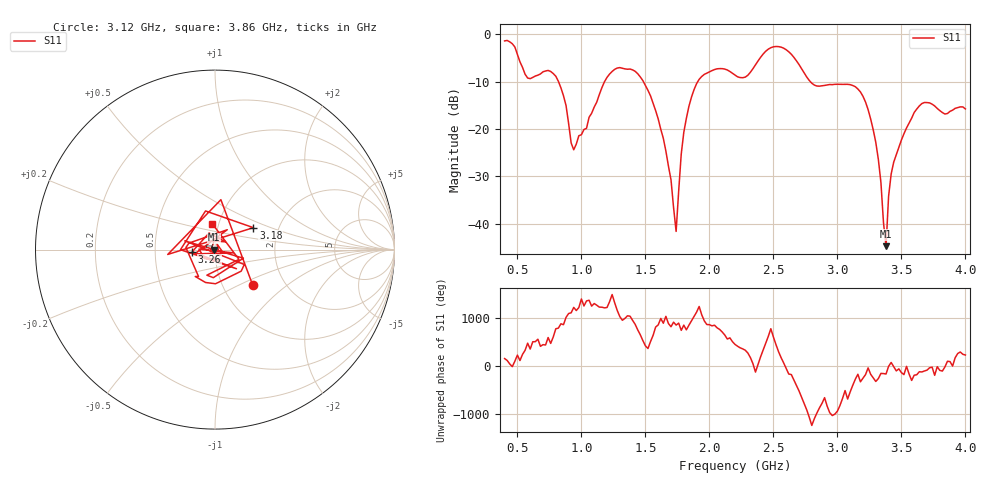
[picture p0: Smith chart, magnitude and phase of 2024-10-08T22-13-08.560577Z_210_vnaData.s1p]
! Created with skrf (http://scikit-rf.org).
# Hz S RI R 50.0
!freq ReS11 ImS11
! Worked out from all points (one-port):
!   181 points, 400 MHz to 4 GHz, reference 50 ohm
!   lowest |S11| = -44.7 dB at 3.38 GHz (marker M1), VSWR 1.01, Z = 49.4 - j0.118 ohm
!   |S11| at or under -10 dB: 821.1 MHz to 1.18 GHz (359.3 MHz wide, 35.9 % of centre); 1.485 GHz to 1.909 GHz (424.5 MHz wide, 25 % of centre); 2.789 GHz to end of sweep
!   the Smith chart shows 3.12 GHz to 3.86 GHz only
!   S11 on the Smith chart (normalised r, x): 3.12 GHz: 1.38, -0.60; 3.18 GHz: 1.48, +0.39; 3.26 GHz: 0.77, -0.02; 3.86 GHz: 0.93, +0.28
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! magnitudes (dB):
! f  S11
! 400 MHz  -1.4
! 580 MHz  -9.2
! 760 MHz  -7.8
! 860 MHz  -13.0
! 940 MHz  -24.4
! 1.3 GHz  -7.0
! 1.44 GHz  -8.3
! 1.58 GHz  -16.1
! 1.7 GHz  -30.7
! 1.74 GHz  -41.6
! 1.76 GHz  -33.1
! 1.8 GHz  -20.7
! 1.9 GHz  -10.4
! 2.2 GHz  -8.6
! 2.5 GHz  -2.7
! 2.66 GHz  -4.9
! 2.82 GHz  -10.7
! 3.1 GHz  -10.6
! 3.12 GHz  -10.8
! 3.18 GHz  -12.2
! 3.26 GHz  -17.9
! 3.32 GHz  -26.4
! 3.38 GHz  -44.7
! 3.42 GHz  -29.5
! 3.56 GHz  -18.7
! 3.68 GHz  -14.4
! 3.86 GHz  -16.7
! 4 GHz  -15.7
